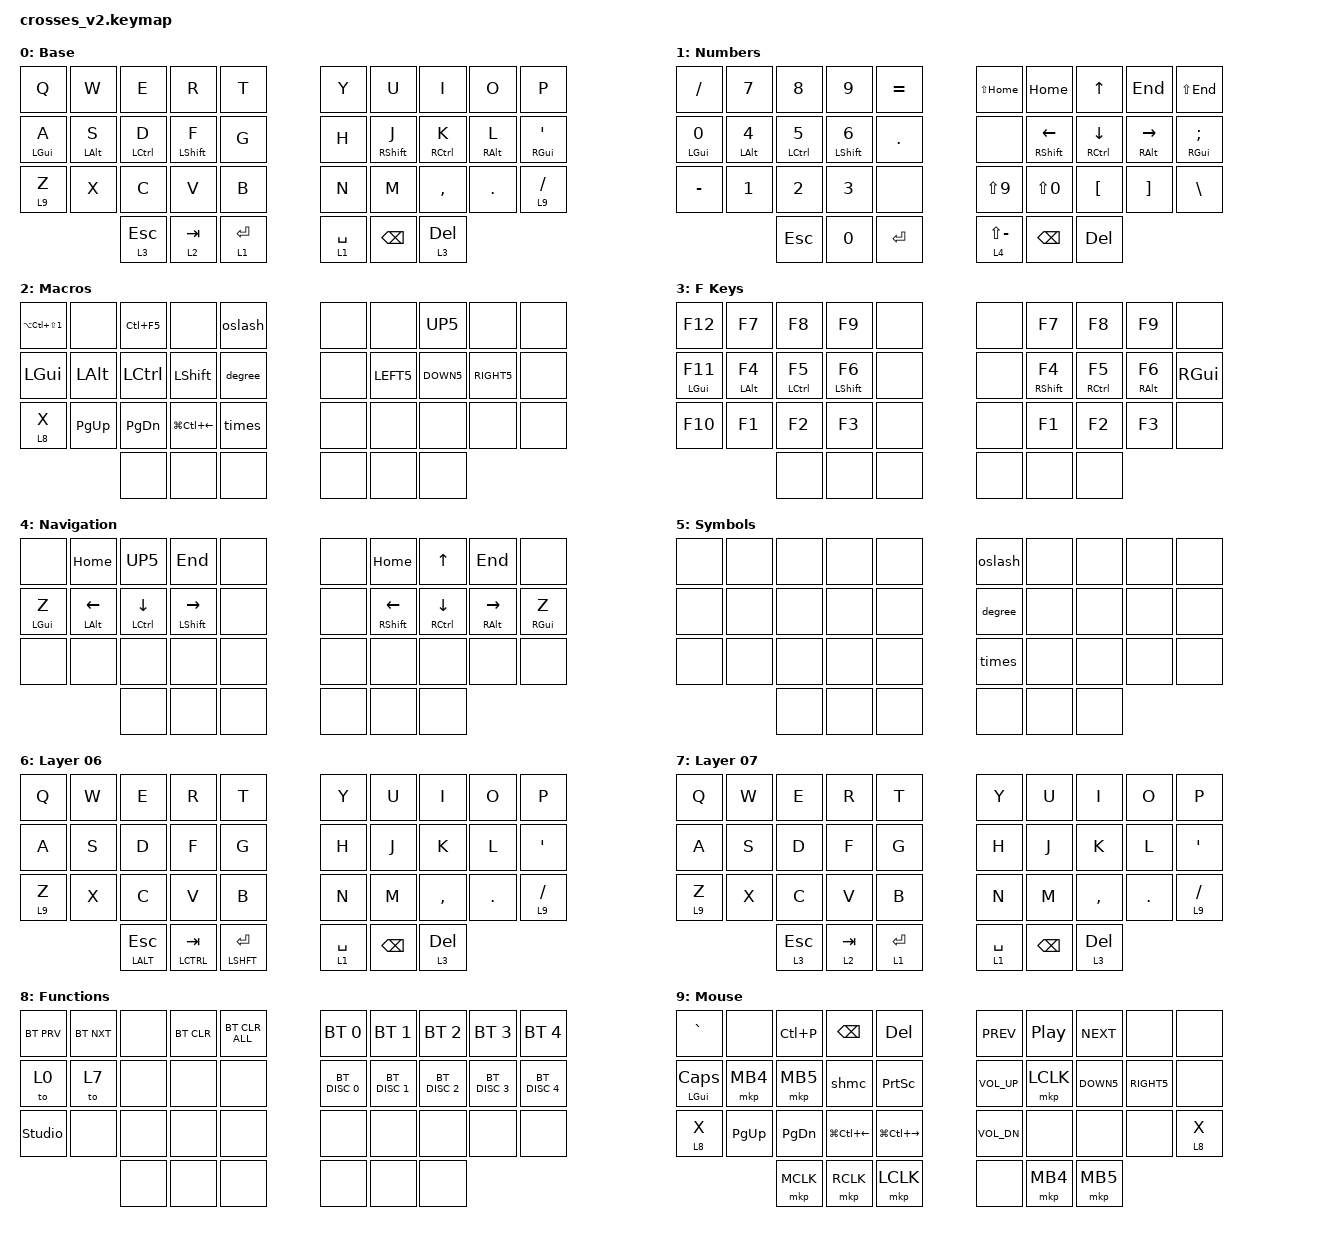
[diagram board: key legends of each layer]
#include <behaviors.dtsi>
#include <dt-bindings/zmk/bt.h>
#include <dt-bindings/zmk/keys.h>
#include <dt-bindings/zmk/outputs.h>
#include <dt-bindings/zmk/pointing.h>

/ {
    chosen { zmk,physical-layout = &gggw_crosses_36_layout; };

    behaviors {
        hml: home_row_mod_left {
            compatible = "zmk,behavior-hold-tap";
            #binding-cells = <2>;
            flavor = "balanced";

            require-prior-idle-ms = <170>;  // If you press this key within x ms of pressing another non-modifier key, it resolves as a **tap**. It doesn’t get to act as a hold in that case.
            tapping-term-ms = <180>;        // You have this much time to tap the key, any longer and it is a hold
            quick-tap-ms = <180>;           //you pressed and released the key under under this time so it is a TAP

            bindings = <&kp>, <&kp>;
            hold-trigger-key-positions = <5 6 7 8 9 15 16 17 18 19 25 26 27 28 29 30 31 32 33 34 35>; // List of keys on the right side of the keyboard
            hold-trigger-on-release;
        };

        hmr: home_row_mod_right {
            compatible = "zmk,behavior-hold-tap";
            #binding-cells = <2>;
            flavor = "balanced";

            require-prior-idle-ms = <170>;  // If you press this key within {time} ms of pressing another non-modifier key, it resolves as a **tap**. It doesn’t get to act as a hold in that case.
            tapping-term-ms = <180>;        // Otherwise, holding the key longer than {time} ms makes it a **hold**. Releasing sooner makes it a **tap**, unless `flavor = "balanced"` resolves it as a hold because another key was pressed and released while it was down.
            quick-tap-ms = <180>;           // If you press this same key again within {time} ms of its first press, that next press is forced to be a **tap**, even if you hold it longer.

            bindings = <&kp>, <&kp>;
            hold-trigger-key-positions = <0 1 2 3 4 10 11 12 13 14 20 21 22 23 24 30 31 32 33 34 35>; // List of keys on the left side of the keyboards
            hold-trigger-on-release;
        };

        tr: thumb_buttons {
            compatible = "zmk,behavior-hold-tap";
            #binding-cells = <2>;
            flavor = "balanced";

            require-prior-idle-ms = <50>;  // only allow a hold if the key was idle, not pressed, in this amout of miliseconds
            tapping-term-ms = <180>;        // You have this much time to tap the key, any longer and it is a hold
            quick-tap-ms = <180>;           //you pressed and released the key under under this time so it is a TAP

            bindings = <&mo>, <&kp>;
        };

    };

    // #################### MACROS ####################
    macros {
        times: times {
            compatible = "zmk,behavior-macro";
            #binding-cells = <0>;
            bindings
            = <&macro_press &kp LALT>
            , <&macro_tap &kp KP_N0>
            , <&macro_tap &kp KP_N2>
            , <&macro_tap &kp KP_N1>
            , <&macro_tap &kp KP_N5>
            , <&macro_release &kp LALT>
            ;
        };

        // ###############################################################
        degree: degree {
            compatible = "zmk,behavior-macro";
            #binding-cells = <0>;
            bindings
            = <&macro_press &kp LALT>
            , <&macro_tap &kp KP_N0>
            , <&macro_tap &kp KP_N1>
            , <&macro_tap &kp KP_N7>
            , <&macro_tap &kp KP_N6>
            , <&macro_release &kp LALT>
            ;
        };

        // ###############################################################
        oslash: oslash {
            compatible = "zmk,behavior-macro";
            #binding-cells = <0>;
            bindings
            = <&macro_press &kp LALT>
            , <&macro_tap &kp KP_N0>
            , <&macro_tap &kp KP_N2>
            , <&macro_tap &kp KP_N1>
            , <&macro_tap &kp KP_N6>
            , <&macro_release &kp LALT>
            ;
        };

        // ###############################################################
        UP5: UP5 {
            compatible = "zmk,behavior-macro";
            #binding-cells = <0>;
            wait-ms = <0>;
            tap-ms = <0>;
            bindings = <&kp UP &kp UP &kp UP &kp UP &kp UP>;
        };

        // ###############################################################
        DOWN5: DOWN5 {
            compatible = "zmk,behavior-macro";
            #binding-cells = <0>;
            wait-ms = <0>;
            tap-ms = <0>;
            bindings = <&kp DOWN &kp DOWN &kp DOWN &kp DOWN &kp DOWN>;
            };

        // ###############################################################
        RIGHT5: RIGHT5 {
            compatible = "zmk,behavior-macro";
            #binding-cells = <0>;
            wait-ms = <0>;
            tap-ms = <0>;
            bindings = <&kp RIGHT &kp RIGHT &kp RIGHT &kp RIGHT &kp RIGHT>;
        };

        // ###############################################################
        LEFT5: LEFT5 {
            compatible = "zmk,behavior-macro";
            #binding-cells = <0>;
            wait-ms = <0>;
            tap-ms = <0>;
            bindings = <&kp LEFT &kp LEFT &kp LEFT &kp LEFT &kp LEFT>;
        };

        shmc: shmc {
            compatible = "zmk,behavior-macro";
            #binding-cells = <0>;
            wait-ms = <0>;
            tap-ms = <0>;
            bindings = <&macro_press &kp LSHFT>
                     , <&macro_press &mkp MCLK>
                     , <&macro_pause_for_release>
                     , <&macro_release &mkp MCLK>
                     , <&macro_release &kp LSHFT>
                     ;
        };
    };

//###################################################################################################################################################################################################################

    keymap {
        compatible = "zmk,keymap";

        layer_00 {
            display-name = "Base";
            bindings = <
                &kp Q              &kp W           &kp E            &kp R              &kp T                            &kp Y              &kp U              &kp I              &kp O              &kp P
            //--------------------|---------------|----------------|------------------|-------------------|-------------------------------|------------------|------------------|------------------|------------------------
                &hml LGUI A        &hml LALT S     &hml LCTRL D     &hml LSHFT F       &kp G                            &kp H              &hmr RSHFT J       &hmr RCTRL K       &hmr RALT L        &hmr RGUI SQT
            //--------------------|---------------|----------------|------------------|-------------------|-------------------------------|------------------|------------------|------------------|------------------------
                &lt 9 Z            &kp X           &kp C            &kp V              &kp B                            &kp N              &kp M              &kp COMMA          &kp DOT            &lt 9 SLASH
            //--------------------|---------------|----------------|------------------|-------------------|-------------------------------|------------------|------------------|------------------|------------------------
                                                   &tr 3 ESC        &tr 2 TAB          &tr 1 RET                        &tr 1 SPACE        &kp BSPC       &tr 3 DEL
            >;
        };

//###################################################################################################################################################################################################################

        layer_01 {
            display-name = "Numbers";
            bindings = <

                &kp FSLH           &kp N7          &kp N8           &kp N9             &kp EQUAL                         &kp LS(HOME)      &kp HOME           &kp UP             &kp END            &kp LS(END)
            //--------------------|---------------|----------------|------------------|-------------------|-------------------------------|------------------|------------------|------------------|------------------------
                &hml LGUI N0       &hml LALT N4    &hml LCTRL N5    &hml LSHFT N6      &kp DOT                           &none             &hmr RSHFT LEFT    &hmr RCTRL DOWN    &hmr RALT RIGHT    &hmr RGUI SEMI
            //--------------------|---------------|----------------|------------------|-------------------|-------------------------------|------------------|------------------|------------------|------------------------
                &kp MINUS          &kp N1          &kp N2           &kp N3             &none                             &kp LS(N9)        &kp LS(N0)         &kp LBKT           &kp RBKT           &kp BSLH
            //--------------------|---------------|----------------|------------------|-------------------|-------------------------------|------------------|------------------|------------------|------------------------
                                                   &kp ESC          &kp N0             &kp RET                           &tr 4 LS(MINUS)   &kp BSPC           &kp DEL
            >;
        };

//###################################################################################################################################################################################################################


        layer_02 {
            display-name = "Macros";
            bindings = <

                &kp LA(LC(LS(N1))) &none           &kp LC(F5)       &none              &oslash                          &none              &none              &UP5               &none              &none
            //--------------------|---------------|----------------|------------------|-------------------|-------------------------------|------------------|------------------|------------------|------------------------
                &kp LGUI           &kp LALT        &kp LCTRL        &kp LSHFT          &degree                          &none              &LEFT5             &DOWN5             &RIGHT5            &none
            //--------------------|---------------|----------------|------------------|-------------------|-------------------------------|------------------|------------------|------------------|------------------------
                &lt 8 X            &kp PG_UP       &kp PG_DN        &kp LG(LC(LEFT))   &times                           &none              &none              &none              &none              &none
            //--------------------|---------------|----------------|------------------|-------------------|-------------------------------|------------------|------------------|------------------|------------------------
                                                   &none            &none              &none                            &none              &none              &none
            >;
        };

//###################################################################################################################################################################################################################

        layer_03 {
            display-name = "F Keys";
            bindings = <

                &kp F12            &kp F7          &kp F8           &kp F9             &none                            &none              &kp F7             &kp F8             &kp F9             &none
            //--------------------|---------------|----------------|------------------|-------------------|-------------------------------|------------------|------------------|------------------|------------------------
                &hml LGUI F11      &hml LALT F4    &hml LCTRL F5    &hml LSHFT F6      &none                            &none              &hmr RSHFT F4      &hmr RCTRL F5      &hmr RALT F6       &kp RGUI
            //--------------------|---------------|----------------|------------------|-------------------|-------------------------------|------------------|------------------|------------------|------------------------
                &kp F10            &kp F1          &kp F2           &kp F3             &none                            &none              &kp F1             &kp F2             &kp F3             &none
            //--------------------|---------------|----------------|------------------|-------------------|-------------------------------|------------------|------------------|------------------|------------------------
                                                   &none            &none              &none                            &none              &none              &none
            >;
        };

//###################################################################################################################################################################################################################

        layer_04 {
            display-name = "Navigation";
            bindings = <

                &none              &kp HOME        &UP5             &kp END            &none                             &none             &kp HOME           &kp UP             &kp END            &none
            //--------------------|---------------|----------------|------------------|-------------------|-------------------------------|------------------|------------------|------------------|------------------------
                &hml LGUI Z        &hml LALT LEFT  &hml LCTRL DOWN  &hml LSHFT RIGHT   &none                             &none             &hmr RSHFT LEFT    &hmr RCTRL DOWN    &hmr RALT RIGHT    &hmr RGUI Z
            //--------------------|---------------|----------------|------------------|-------------------|-------------------------------|------------------|------------------|------------------|------------------------
                &none              &none           &none            &none              &none                             &none             &none              &none              &none              &none
            //--------------------|---------------|----------------|------------------|-------------------|-------------------------------|------------------|------------------|------------------|------------------------
                                                   &none            &none              &none                             &none             &none              &none
            >;
        };

//###################################################################################################################################################################################################################

        layer_05 {
            display-name = "Symbols";
            bindings = <

                &none              &none           &none            &none              &none                            &oslash            &none              &none              &none              &none
            //--------------------|---------------|----------------|------------------|-------------------|-------------------------------|------------------|------------------|------------------|------------------------
                &none              &none           &none            &none              &none                            &degree            &none              &none              &none              &none
            //--------------------|---------------|----------------|------------------|-------------------|-------------------------------|------------------|------------------|------------------|------------------------
                &none              &none           &none            &none              &none                            &times             &none              &none              &none              &none
            //--------------------|---------------|----------------|------------------|-------------------|-------------------------------|------------------|------------------|------------------|------------------------
                                                   &none            &none              &none                            &none              &none              &none
            >;
        };

//###################################################################################################################################################################################################################

        layer_06 {
            display-name = "Layer 06";
            bindings = <

                &kp Q              &kp W           &kp E            &kp R              &kp T                            &kp Y              &kp U              &kp I              &kp O              &kp P
            //--------------------|---------------|----------------|------------------|-------------------|-------------------------------|------------------|------------------|------------------|------------------------
                &kp A              &kp S           &kp D            &kp F              &kp G                            &kp H              &kp J              &kp K              &kp L              &kp SQT
            //--------------------|---------------|----------------|------------------|-------------------|-------------------------------|------------------|------------------|------------------|------------------------
                &lt 9 Z            &kp X           &kp C            &kp V              &kp B                            &kp N              &kp M              &kp COMMA          &kp DOT            &lt 9 SLASH
            //--------------------|---------------|----------------|------------------|-------------------|-------------------------------|------------------|------------------|------------------|------------------------
                                                   &tr LALT ESC        &tr LCTRL TAB          &tr LSHFT RET                        &tr 1 SPACE        &kp BSPC       &tr 3 DEL
            >;
        };

//###################################################################################################################################################################################################################

        layer_07 {
            display-name = "Layer 07";
            bindings = <

                &kp Q              &kp W           &kp E            &kp R              &kp T                            &kp Y              &kp U              &kp I              &kp O              &kp P
            //--------------------|---------------|----------------|------------------|-------------------|-------------------------------|------------------|------------------|------------------|------------------------
                &kp A              &kp S           &kp D            &kp F              &kp G                            &kp H              &kp J              &kp K              &kp L              &kp SQT
            //--------------------|---------------|----------------|------------------|-------------------|-------------------------------|------------------|------------------|------------------|------------------------
                &lt 9 Z            &kp X           &kp C            &kp V              &kp B                            &kp N              &kp M              &kp COMMA          &kp DOT            &lt 9 SLASH
            //--------------------|---------------|----------------|------------------|-------------------|-------------------------------|------------------|------------------|------------------|------------------------
                                                   &tr 3 ESC        &tr 2 TAB          &tr 1 RET                        &tr 1 SPACE        &kp BSPC       &tr 3 DEL
            >;
        };

//###################################################################################################################################################################################################################

        layer_08 {
            display-name = "Functions";
            bindings = <

                &bt BT_PRV         &bt BT_NXT      &none            &bt BT_CLR         &bt BT_CLR_ALL                   &bt BT_SEL 0       &bt BT_SEL 1       &bt BT_SEL 2       &bt BT_SEL 3       &bt BT_SEL 4
            //--------------------|---------------|----------------|------------------|-------------------|-------------------------------|------------------|------------------|------------------|------------------------
                &to 0              &to 7           &none            &none              &none                            &bt BT_DISC 0      &bt BT_DISC 1      &bt BT_DISC 2      &bt BT_DISC 3      &bt BT_DISC 4
            //--------------------|---------------|----------------|------------------|-------------------|-------------------------------|------------------|------------------|------------------|------------------------
                &studio_unlock     &none           &none            &none              &none                            &none              &none              &none              &none              &none
            //--------------------|---------------|----------------|------------------|-------------------|-------------------------------|------------------|------------------|------------------|------------------------
                                                   &none            &none              &none                            &none              &none              &none
            >;
        };

//###################################################################################################################################################################################################################

        layer_09 {
            display-name = "Mouse";
            bindings = <
                &kp GRAVE          &none           &kp LC(P)        &kp BSPC           &kp DEL                           &kp C_PREV        &kp C_PP           &kp C_NEXT         &none              &none
            //--------------------|---------------|----------------|------------------|-------------------|-------------------------------|------------------|------------------|------------------|------------------------
                &hml LGUI CAPS     &mkp MB4        &mkp MB5         &shmc              &kp PSCRN                         &kp C_VOL_UP      &mkp LCLK          &DOWN5             &RIGHT5            &none
            //--------------------|---------------|----------------|------------------|-------------------|-------------------------------|------------------|------------------|------------------|------------------------
                &lt 8 X            &kp PG_UP       &kp PG_DN        &kp LG(LC(LEFT))   &kp LG(LC(RIGHT))                 &kp C_VOL_DN      &none              &none              &none              &lt 8 X
            //--------------------|---------------|----------------|------------------|-------------------|-------------------------------|------------------|------------------|------------------|------------------------
                                                   &mkp MCLK        &mkp RCLK          &mkp LCLK                         &none             &mkp MB4           &mkp MB5
            >;
        };

//###################################################################################################################################################################################################################

    };
};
